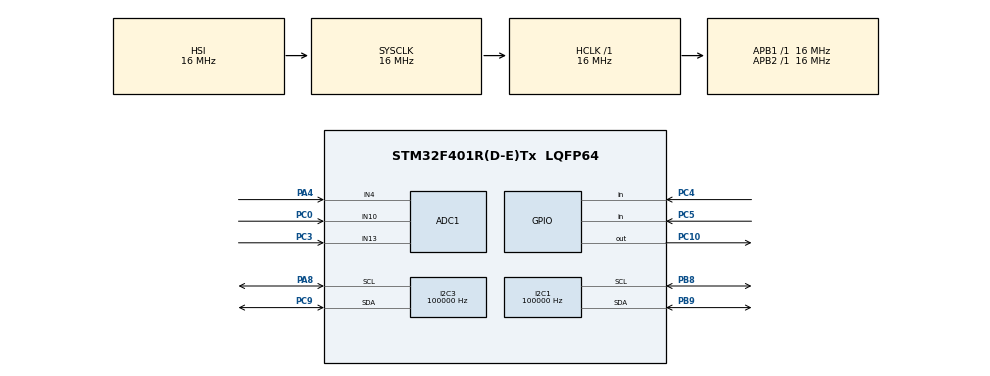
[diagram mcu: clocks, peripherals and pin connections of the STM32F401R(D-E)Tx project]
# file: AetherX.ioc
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ADC1.Channel-1\#ChannelRegularConversion=ADC_CHANNEL_13
ADC1.ContinuousConvMode=DISABLE
ADC1.DMAContinuousRequests=ENABLE
ADC1.DiscontinuousConvMode=DISABLE
ADC1.EOCSelection=ADC_EOC_SINGLE_CONV
ADC1.NbrOfConversionFlag=1
ADC1.Rank-1\#ChannelRegularConversion=1
ADC1.SamplingTime-1\#ChannelRegularConversion=ADC_SAMPLETIME_3CYCLES
ADC1.ScanConvMode=ENABLE
ADC1.master=1
Dma.ADC1.0.Direction=DMA_PERIPH_TO_MEMORY
Dma.ADC1.0.FIFOMode=DMA_FIFOMODE_DISABLE
Dma.ADC1.0.Instance=DMA2_Stream0
Dma.ADC1.0.MemDataAlignment=DMA_MDATAALIGN_HALFWORD
Dma.ADC1.0.MemInc=DMA_MINC_ENABLE
Dma.ADC1.0.Mode=DMA_CIRCULAR
Dma.ADC1.0.PeriphDataAlignment=DMA_PDATAALIGN_HALFWORD
Dma.ADC1.0.PeriphInc=DMA_PINC_DISABLE
Dma.ADC1.0.Priority=DMA_PRIORITY_VERY_HIGH
Dma.Request0=ADC1
I2C1.ClockSpeed=100000
I2C3.ClockSpeed=100000
Mcu.Family=STM32F4
Mcu.Name=STM32F401R(D-E)Tx
Mcu.Package=LQFP64
NVIC.ADC_IRQn=true\:0\:0\:false\:false\:true\:true\:true\:true
NVIC.DMA2_Stream0_IRQn=true\:0\:0\:false\:false\:true\:false\:true\:true
NVIC.PriorityGroup=NVIC_PRIORITYGROUP_4
NVIC.TIM2_IRQn=true\:0\:0\:false\:false\:true\:true\:true\:true
PA13.Mode=Trace_Asynchronous_SW
PA13.Signal=SYS_JTMS-SWDIO
PA14.Mode=Trace_Asynchronous_SW
PA14.Signal=SYS_JTCK-SWCLK
PA4.Signal=ADCx_IN4
PA8.Mode=I2C
PA8.Signal=I2C3_SCL
PB3.Mode=Trace_Asynchronous_SW
PB3.Signal=SYS_JTDO-SWO
PB8.Mode=I2C
PB8.Signal=I2C1_SCL
PB9.Mode=I2C
PB9.Signal=I2C1_SDA
PC0.Signal=ADCx_IN10
PC10.GPIO_Speed=GPIO_SPEED_FREQ_LOW
PC10.Signal=GPIO_Output
PC3.Signal=ADCx_IN13
PC4.Signal=GPIO_Input
PC5.Signal=GPIO_Input
PC9.Mode=I2C
PC9.Signal=I2C3_SDA
ProjectManager.HeapSize=0x200
ProjectManager.StackSize=0x400
ProjectManager.TargetToolchain=STM32CubeIDE
RCC.AHBFreq_Value=16000000
RCC.APB1Freq_Value=16000000
RCC.APB2Freq_Value=16000000
RCC.CortexFreq_Value=16000000
RCC.HSE_VALUE=25000000
RCC.HSI_VALUE=16000000
RCC.LSE_VALUE=32768
RCC.SYSCLKFreq_VALUE=16000000
RCC.VCOOutputFreq_Value=192000000
RTC.Date=3
RTC.Hours=20
RTC.Minutes=56
SH.ADCx_IN10.0=ADC1_IN10,IN10
SH.ADCx_IN13.0=ADC1_IN13,IN13
SH.ADCx_IN4.0=ADC1_IN4,IN4
TIM2.ClockDivision=TIM_CLOCKDIVISION_DIV2
TIM2.Period=71999
TIM2.Prescaler=124
VP_ADC1_Vref_Input.Mode=IN-Vrefint
VP_RTC_VS_RTC_Activate.Mode=RTC_Enabled
VP_RTC_VS_RTC_Calendar.Mode=RTC_Calendar
VP_TIM2_VS_ClockSourceINT.Mode=Internal
board=custom

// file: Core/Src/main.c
/* USER CODE BEGIN Header */
/* USER CODE END Header */
#include "main.h"

/* USER CODE BEGIN Includes */
#include "LM61.h"
#include "OPT101.h"
#include "DHT20.h"
#include "MAX9814.h"
#include "ssd1306.h"
#include "screens.h"
#include "button.h"
/* USER CODE END Includes */

/* USER CODE BEGIN PD */
#define N_STAT 32
/* USER CODE END PD */

ADC_HandleTypeDef hadc1;
DMA_HandleTypeDef hdma_adc1;

I2C_HandleTypeDef hi2c1;
I2C_HandleTypeDef hi2c3;

RTC_HandleTypeDef hrtc;

TIM_HandleTypeDef htim2;

/* USER CODE BEGIN PV */
RTC_TimeTypeDef sTime;
/* USER CODE END PV */

void SystemClock_Config(void);
static void MX_GPIO_Init(void);
static void MX_DMA_Init(void);
static void MX_I2C1_Init(void);
static void MX_ADC1_Init(void);
static void MX_RTC_Init(void);
static void MX_I2C3_Init(void);
static void MX_TIM2_Init(void);

/* USER CODE BEGIN 0 */
// Measured ADC voltage
float ADC_VRef = 3.0;
int screen_state = 0;

// Buffer to hold DMA content from the MAX9814
uint16_t audio_buffer[1024];
/* USER CODE END 0 */

int main(void)
{

  /* MCU Configuration--------------------------------------------------------*/

  /* Reset of all peripherals, Initializes the Flash interface and the Systick. */
  HAL_Init();

  /* Configure the system clock */
  SystemClock_Config();

  /* Initialize all configured peripherals */
  MX_GPIO_Init();
  MX_DMA_Init();
  MX_I2C1_Init();
  MX_ADC1_Init();
  MX_RTC_Init();
  MX_I2C3_Init();
  MX_TIM2_Init();
  /* USER CODE BEGIN 2 */
  HAL_TIM_Base_Start_IT(&htim2);
  DHT20_Init();
  HAL_ADC_Start_DMA(&hadc1, (uint32_t *)audio_buffer, 1024);
  SSD1306_Init();
  /* USER CODE END 2 */
  // DECLARATION OF VARIABLES
  float temp_val, temp_avg, light_val, light_avg, hum_avg = -1;
  int hum_val = -1;
  int MAX9814 = -1;

  // Buffers for averages
  float temp_buf[N_STAT] = {0};
  float light_buf[N_STAT] = {0};
  float hum_buf[N_STAT] = {0};
  uint8_t index = 0;

  // Highs and lows
  float temp_low = 200.0f;
  float temp_high = -100.0f;
  float light_low = 9000.0f;
  float light_high = -9000.0f;
  float hum_low = 101.0f;
  float hum_high = -1.0f;
  /* USER CODE BEGIN WHILE */

  SSD1306_ScrollLeft(0,7);
  while(1){
	  // Handle STOP mode activation
	  if (stop_flag == 1){
		  SSD1306_TurnOff(); // Shut off display
		  for (int i = 0; i < 6; i++){
			  HAL_GPIO_TogglePin(GPIOC, GPIO_PIN_10);
			  HAL_Delay(100);
		  }
		  HAL_GPIO_WritePin(GPIOC, GPIO_PIN_10, GPIO_PIN_RESET); // Ensure LED is off

		  // Disable peripherals
		  HAL_I2C_DeInit(&hi2c1);
		  HAL_I2C_DeInit(&hi2c3);
		  HAL_ADC_DeInit(&hadc1);
		  HAL_SuspendTick();
		  HAL_PWR_EnterSTOPMode(PWR_LOWPOWERREGULATOR_ON, PWR_SLEEPENTRY_WFI); // Enter stop mode

		  // After STOP mode ends...
		  HAL_ResumeTick();
		  SystemClock_Config();

		  // Re-enable peripherals
		  MX_I2C1_Init();
		  MX_I2C3_Init();
		  MX_ADC1_Init();
		  SSD1306_Init();
		  stop_flag = 0;
	  }

	  // Update time
	  RTC_UpdateTime();

	  // Track button inputs
	  if (button_flag != 0) Button_History();

	  // Obtain readings from sensors with timer interrupt
	  if (read_flag == 1){
		  // Sensor readings
		  temp_val = LM61_Temp(1);
		  light_val = OPT101_Lux();
		  MAX9814 = MAX9814_Read();
		  hum_val = DHT20_Humidity();
		  ADC_VRef = Read_VADC();

		  // Detect high and low temperatures
		  Detect_Extremum(temp_val, &temp_low, &temp_high);
		  Detect_Extremum(light_val, &light_low, &light_high);
		  Detect_Extremum(hum_val, &hum_low, &hum_high);

		  // Place data into buffers for easier avg processing
		  temp_buf[index] = temp_val;
		  light_buf[index] = light_val;
		  hum_buf[index] = hum_val;
		  index++;

		  // Reset index to stay in bounds
		  if (index == N_STAT-1){
			  temp_avg = Average_Gen(temp_buf, N_STAT);
			  light_avg = Average_Gen(light_buf, N_STAT);
			  hum_avg = Average_Gen(hum_buf, N_STAT);
			  index = 0;
		  }
		  read_flag = 0; // Reset flag
	  }

	  // Select screen with switch 1
	  if (screen_flag == 1){
		  screen_state++;
		  SSD1306_Stopscroll();
		  SSD1306_Clear();
		  screen_flag = 0;
	  }

	  // Toggle LED with switch 2
	  if (LED_flag == 1){
		  HAL_GPIO_TogglePin(GPIOC, GPIO_PIN_10);
		  LED_flag = 0;
	  }

	  // Display readings on OLED using switch case
	  switch (screen_state) {
		  case 0:
			  SSD1306_Show_Readings(temp_val, ADC_VRef, light_val, hum_val);
			  break;

		  case 1:
			  SSD1306_Screen(temp_val, temp_avg, "Temperature", "F", temp_high, temp_low);
			  break;

		  case 2:
			  SSD1306_Screen(light_val, light_avg, "Light", "LUX", light_high, light_low);
			  break;

		  case 3:
			  SSD1306_Screen(hum_val, hum_avg, "Humidity", "%", hum_high, hum_low);
			  break;

		  default:
			  SSD1306_Show_Readings(temp_val, ADC_VRef, light_val, hum_val);
			  screen_state = 0;
			  break;
	  }

	  SSD1306_UpdateScreen();
	  //HAL_Delay(delay_ms);
  }
    /* USER CODE END WHILE */

}

void SystemClock_Config(void)
{
  RCC_OscInitTypeDef RCC_OscInitStruct = {0};
  RCC_ClkInitTypeDef RCC_ClkInitStruct = {0};

  /** Configure the main internal regulator output voltage
  */
  __HAL_RCC_PWR_CLK_ENABLE();
  __HAL_PWR_VOLTAGESCALING_CONFIG(PWR_REGULATOR_VOLTAGE_SCALE2);

  /** Initializes the RCC Oscillators according to the specified parameters
  * in the RCC_OscInitTypeDef structure.
  */
  RCC_OscInitStruct.OscillatorType = RCC_OSCILLATORTYPE_HSI|RCC_OSCILLATORTYPE_LSI;
  RCC_OscInitStruct.HSIState = RCC_HSI_ON;
  RCC_OscInitStruct.HSICalibrationValue = RCC_HSICALIBRATION_DEFAULT;
  RCC_OscInitStruct.LSIState = RCC_LSI_ON;
  RCC_OscInitStruct.PLL.PLLState = RCC_PLL_NONE;
  if (HAL_RCC_OscConfig(&RCC_OscInitStruct) != HAL_OK)
  {
    Error_Handler();
  }

  /** Initializes the CPU, AHB and APB buses clocks
  */
  RCC_ClkInitStruct.ClockType = RCC_CLOCKTYPE_HCLK|RCC_CLOCKTYPE_SYSCLK
                              |RCC_CLOCKTYPE_PCLK1|RCC_CLOCKTYPE_PCLK2;
  RCC_ClkInitStruct.SYSCLKSource = RCC_SYSCLKSOURCE_HSI;
  RCC_ClkInitStruct.AHBCLKDivider = RCC_SYSCLK_DIV1;
  RCC_ClkInitStruct.APB1CLKDivider = RCC_HCLK_DIV1;
  RCC_ClkInitStruct.APB2CLKDivider = RCC_HCLK_DIV1;

  if (HAL_RCC_ClockConfig(&RCC_ClkInitStruct, FLASH_LATENCY_0) != HAL_OK)
  {
    Error_Handler();
  }
}

static void MX_ADC1_Init(void)
{

  ADC_ChannelConfTypeDef sConfig = {0};

  /** Configure the global features of the ADC (Clock, Resolution, Data Alignment and number of conversion)
  */
  hadc1.Instance = ADC1;
  hadc1.Init.ClockPrescaler = ADC_CLOCK_SYNC_PCLK_DIV2;
  hadc1.Init.Resolution = ADC_RESOLUTION_12B;
  hadc1.Init.ScanConvMode = ENABLE;
  hadc1.Init.ContinuousConvMode = DISABLE;
  hadc1.Init.DiscontinuousConvMode = DISABLE;
  hadc1.Init.ExternalTrigConvEdge = ADC_EXTERNALTRIGCONVEDGE_NONE;
  hadc1.Init.ExternalTrigConv = ADC_SOFTWARE_START;
  hadc1.Init.DataAlign = ADC_DATAALIGN_RIGHT;
  hadc1.Init.NbrOfConversion = 1;
  hadc1.Init.DMAContinuousRequests = ENABLE;
  hadc1.Init.EOCSelection = ADC_EOC_SINGLE_CONV;
  if (HAL_ADC_Init(&hadc1) != HAL_OK)
  {
    Error_Handler();
  }

  /** Configure for the selected ADC regular channel its corresponding rank in the sequencer and its sample time.
  */
  sConfig.Channel = ADC_CHANNEL_13;
  sConfig.Rank = 1;
  sConfig.SamplingTime = ADC_SAMPLETIME_3CYCLES;
  if (HAL_ADC_ConfigChannel(&hadc1, &sConfig) != HAL_OK)
  {
    Error_Handler();
  }

}

static void MX_I2C1_Init(void)
{

  hi2c1.Instance = I2C1;
  hi2c1.Init.ClockSpeed = 100000;
  hi2c1.Init.DutyCycle = I2C_DUTYCYCLE_2;
  hi2c1.Init.OwnAddress1 = 0;
  hi2c1.Init.AddressingMode = I2C_ADDRESSINGMODE_7BIT;
  hi2c1.Init.DualAddressMode = I2C_DUALADDRESS_DISABLE;
  hi2c1.Init.OwnAddress2 = 0;
  hi2c1.Init.GeneralCallMode = I2C_GENERALCALL_DISABLE;
  hi2c1.Init.NoStretchMode = I2C_NOSTRETCH_DISABLE;
  if (HAL_I2C_Init(&hi2c1) != HAL_OK)
  {
    Error_Handler();
  }

}

static void MX_I2C3_Init(void)
{

  hi2c3.Instance = I2C3;
  hi2c3.Init.ClockSpeed = 100000;
  hi2c3.Init.DutyCycle = I2C_DUTYCYCLE_2;
  hi2c3.Init.OwnAddress1 = 0;
  hi2c3.Init.AddressingMode = I2C_ADDRESSINGMODE_7BIT;
  hi2c3.Init.DualAddressMode = I2C_DUALADDRESS_DISABLE;
  hi2c3.Init.OwnAddress2 = 0;
  hi2c3.Init.GeneralCallMode = I2C_GENERALCALL_DISABLE;
  hi2c3.Init.NoStretchMode = I2C_NOSTRETCH_DISABLE;
  if (HAL_I2C_Init(&hi2c3) != HAL_OK)
  {
    Error_Handler();
  }

}

static void MX_RTC_Init(void)
{

  RTC_TimeTypeDef sTime = {0};
  RTC_DateTypeDef sDate = {0};

  /** Initialize RTC Only
  */
  hrtc.Instance = RTC;
  hrtc.Init.HourFormat = RTC_HOURFORMAT_24;
  hrtc.Init.AsynchPrediv = 127;
  hrtc.Init.SynchPrediv = 255;
  hrtc.Init.OutPut = RTC_OUTPUT_DISABLE;
  hrtc.Init.OutPutPolarity = RTC_OUTPUT_POLARITY_HIGH;
  hrtc.Init.OutPutType = RTC_OUTPUT_TYPE_OPENDRAIN;
  if (HAL_RTC_Init(&hrtc) != HAL_OK)
  {
    Error_Handler();
  }

  /* USER CODE BEGIN Check_RTC_BKUP */
  __HAL_RCC_PWR_CLK_ENABLE();
  HAL_PWR_EnableBkUpAccess(); // Enable access to backup domain
  /* USER CODE END Check_RTC_BKUP */

  /** Initialize RTC and set the Time and Date
  */
  sTime.Hours = 0x20;
  sTime.Minutes = 0x52;
  sTime.Seconds = 0x0;
  sTime.DayLightSaving = RTC_DAYLIGHTSAVING_NONE;
  sTime.StoreOperation = RTC_STOREOPERATION_RESET;
  if (HAL_RTC_SetTime(&hrtc, &sTime, RTC_FORMAT_BCD) != HAL_OK)
  {
    Error_Handler();
  }
  sDate.WeekDay = RTC_WEEKDAY_THURSDAY;
  sDate.Month = RTC_MONTH_MARCH;
  sDate.Date = 0x20;
  sDate.Year = 0x0;

  if (HAL_RTC_SetDate(&hrtc, &sDate, RTC_FORMAT_BCD) != HAL_OK)
  {
    Error_Handler();
  }

}

static void MX_TIM2_Init(void)
{

  TIM_ClockConfigTypeDef sClockSourceConfig = {0};
  TIM_MasterConfigTypeDef sMasterConfig = {0};

  htim2.Instance = TIM2;
  htim2.Init.Prescaler = 124;
  htim2.Init.CounterMode = TIM_COUNTERMODE_UP;
  htim2.Init.Period = 71999;
  htim2.Init.ClockDivision = TIM_CLOCKDIVISION_DIV2;
  htim2.Init.AutoReloadPreload = TIM_AUTORELOAD_PRELOAD_DISABLE;
  if (HAL_TIM_Base_Init(&htim2) != HAL_OK)
  {
    Error_Handler();
  }
  sClockSourceConfig.ClockSource = TIM_CLOCKSOURCE_INTERNAL;
  if (HAL_TIM_ConfigClockSource(&htim2, &sClockSourceConfig) != HAL_OK)
  {
    Error_Handler();
  }
  sMasterConfig.MasterOutputTrigger = TIM_TRGO_RESET;
  sMasterConfig.MasterSlaveMode = TIM_MASTERSLAVEMODE_DISABLE;
  if (HAL_TIMEx_MasterConfigSynchronization(&htim2, &sMasterConfig) != HAL_OK)
  {
    Error_Handler();
  }

}

static void MX_DMA_Init(void)
{

  /* DMA controller clock enable */
  __HAL_RCC_DMA2_CLK_ENABLE();

  /* DMA interrupt init */
  /* DMA2_Stream0_IRQn interrupt configuration */
  HAL_NVIC_SetPriority(DMA2_Stream0_IRQn, 0, 0);
  HAL_NVIC_EnableIRQ(DMA2_Stream0_IRQn);

}

static void MX_GPIO_Init(void)
{
  GPIO_InitTypeDef GPIO_InitStruct = {0};

  /* GPIO Ports Clock Enable */
  __HAL_RCC_GPIOC_CLK_ENABLE();
  __HAL_RCC_GPIOA_CLK_ENABLE();
  __HAL_RCC_GPIOB_CLK_ENABLE();

  /*Configure GPIO pin Output Level */
  HAL_GPIO_WritePin(GPIOC, GPIO_PIN_10, GPIO_PIN_RESET);

  /*Configure GPIO pins : PC4 PC5 */
  GPIO_InitStruct.Pin = GPIO_PIN_4|GPIO_PIN_5;
  GPIO_InitStruct.Mode = GPIO_MODE_IT_RISING;
  GPIO_InitStruct.Pull = GPIO_NOPULL;
  HAL_GPIO_Init(GPIOC, &GPIO_InitStruct);

  /*Configure GPIO pin : PC10 */
  GPIO_InitStruct.Pin = GPIO_PIN_10;
  GPIO_InitStruct.Mode = GPIO_MODE_OUTPUT_PP;
  GPIO_InitStruct.Pull = GPIO_NOPULL;
  GPIO_InitStruct.Speed = GPIO_SPEED_FREQ_LOW;
  HAL_GPIO_Init(GPIOC, &GPIO_InitStruct);

/* USER CODE BEGIN MX_GPIO_Init_2 */
  // Enable and set priority for EXTI interrupts
  // MUST USE GPIO_MODE_IT_RISING FOR MODE
  HAL_NVIC_SetPriority(EXTI4_IRQn, 2, 0);
  HAL_NVIC_EnableIRQ(EXTI4_IRQn);

  HAL_NVIC_SetPriority(EXTI9_5_IRQn, 2, 0);
  HAL_NVIC_EnableIRQ(EXTI9_5_IRQn);
/* USER CODE END MX_GPIO_Init_2 */
}

/* USER CODE BEGIN 4 */
float Read_VADC(void){
	// Set channel to internal reference channel
	ADC_ChannelConfTypeDef sConfig = {0};
	sConfig.Channel = ADC_CHANNEL_VREFINT;
	sConfig.Rank = 1;
	sConfig.SamplingTime = ADC_SAMPLETIME_3CYCLES;
	if (HAL_ADC_ConfigChannel(&hadc1, &sConfig) != HAL_OK) Error_Handler();

    uint32_t adc_value = 0;
    HAL_ADC_Start(&hadc1);
    HAL_ADC_PollForConversion(&hadc1, HAL_MAX_DELAY);
    adc_value = HAL_ADC_GetValue(&hadc1);
    HAL_ADC_Stop(&hadc1);
    float VREF = 1.2f; // Define reference voltage
    float voltage = (VREF * 4095.0f) / adc_value;

    if (voltage == 0) return 3.0;
    return voltage;
}

// Updates RTC time
void RTC_UpdateTime(void) {
    HAL_RTC_GetTime(&hrtc, &sTime, RTC_FORMAT_BIN);
    HAL_RTC_GetDate(&hrtc, &(RTC_DateTypeDef){0}, RTC_FORMAT_BIN); // Read date to unlock RTC registers
}

// Average generation function
float Average_Gen(float *readings, int len){
	float sum = 0;
	for (int i = 0; i < len; i++) sum += readings[i];
	float avg = sum / ((float)(len - 1));
	return avg;
}

// Function to update the high or low metric
void Detect_Extremum(float reading, float *low, float *high){
	if (reading > *high) *high = reading;
	if (reading < *low) *low = reading;
}

/* USER CODE END 4 */

void Error_Handler(void)
{
  __disable_irq();
  while (1)
  {
  }
}
